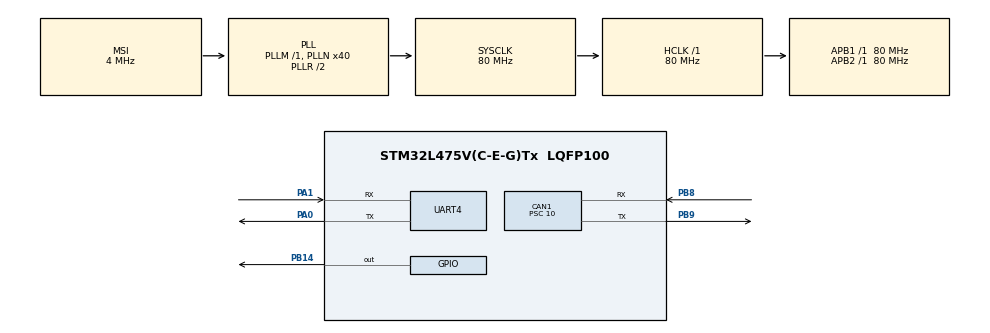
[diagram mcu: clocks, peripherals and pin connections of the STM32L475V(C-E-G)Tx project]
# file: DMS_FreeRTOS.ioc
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CAN1.BS1=CAN_BS1_13TQ
CAN1.BS2=CAN_BS2_2TQ
CAN1.CalculateBaudRate=500000
CAN1.CalculateTimeBit=2000
CAN1.CalculateTimeQuantum=125.0
CAN1.Prescaler=10
FREERTOS.Queues01=q_dms_state,8,uint16_t,0,Dynamic,NULL,NULL
FREERTOS.Tasks01=Task_Watchdog,48,256,StartTaskWatchdog,Default,NULL,Dynamic,NULL,NULL;Task_CAN_Tx,40,256,StartTaskCanTx,Default,NULL,Dynamic,NULL,NULL;Task_UART_Rx,24,256,StartTaskUartRx,Default,NULL,Dynamic,NULL,NULL;Task_Alert,24,128,StartTaskAlert,Default,NULL,Dynamic,NULL,NULL
FREERTOS.configTOTAL_HEAP_SIZE=8192
Mcu.Family=STM32L4
Mcu.Name=STM32L475V(C-E-G)Tx
Mcu.Package=LQFP100
NVIC.CAN1_RX0_IRQn=true\:5\:0\:false\:false\:true\:true\:true\:true\:true
NVIC.PriorityGroup=NVIC_PRIORITYGROUP_4
NVIC.TIM2_IRQn=true\:5\:0\:false\:false\:true\:true\:true\:true\:true
NVIC.TIM6_DAC_IRQn=true\:15\:0\:false\:false\:true\:false\:false\:true\:true
NVIC.TimeBase=TIM6_DAC_IRQn
NVIC.TimeBaseIP=TIM6
NVIC.UART4_IRQn=true\:5\:0\:false\:false\:true\:true\:true\:true\:true
PA0.Mode=Asynchronous
PA0.Signal=UART4_TX
PA1.Mode=Asynchronous
PA1.Signal=UART4_RX
PB14.Signal=GPIO_Output
PB8.Mode=CAN_Activate
PB8.Signal=CAN1_RX
PB9.Mode=CAN_Activate
PB9.Signal=CAN1_TX
ProjectManager.HeapSize=0x200
ProjectManager.StackSize=0x400
ProjectManager.TargetToolchain=STM32CubeIDE
RCC.ADCFreq_Value=48000000
RCC.AHBFreq_Value=80000000
RCC.APB1Freq_Value=80000000
RCC.APB1TimFreq_Value=80000000
RCC.APB2Freq_Value=80000000
RCC.APB2TimFreq_Value=80000000
RCC.CortexFreq_Value=80000000
RCC.HCLKFreq_Value=80000000
RCC.HSE_VALUE=8000000
RCC.HSI_VALUE=16000000
RCC.LSE_VALUE=32768
RCC.MSI_VALUE=4000000
RCC.PLLN=40
RCC.PLLSAI1N=24
RCC.SYSCLKFreq_VALUE=80000000
RCC.SYSCLKSource=RCC_SYSCLKSOURCE_PLLCLK
RCC.USBFreq_Value=48000000
RCC.VCOOutputFreq_Value=160000000
TIM2.Period=4999
TIM2.Prescaler=7999
VP_FREERTOS_VS_CMSIS_V2.Mode=CMSIS_V2
VP_SYS_VS_tim6.Mode=TIM6
VP_TIM2_VS_ClockSourceINT.Mode=Internal
board=B-L475E-IOT01A2

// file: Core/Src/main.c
/* USER CODE BEGIN Header */
/**
  ******************************************************************************
  * @file           : main.c
  * @brief          : Main program body
  ******************************************************************************
  * @attention
  *
  * Copyright (c) 2026 STMicroelectronics.
  * All rights reserved.
  *
  * This software is licensed under terms that can be found in the LICENSE file
  * in the root directory of this software component.
  * If no LICENSE file comes with this software, it is provided AS-IS.
  *
  ******************************************************************************
  */
/* USER CODE END Header */
#include "main.h"
#include "cmsis_os.h"
#include "can.h"
#include "tim.h"
#include "usart.h"
#include "gpio.h"

/* USER CODE BEGIN PV */
extern uint8_t rx_byte;
/* USER CODE END PV */

void SystemClock_Config(void);
void MX_FREERTOS_Init(void);

int main(void)
{

  /* MCU Configuration--------------------------------------------------------*/

  /* Reset of all peripherals, Initializes the Flash interface and the Systick. */
  HAL_Init();

  /* Configure the system clock */
  SystemClock_Config();

  /* Initialize all configured peripherals */
  MX_GPIO_Init();
  MX_CAN1_Init();
  MX_TIM2_Init();
  MX_UART4_Init();
  /* USER CODE BEGIN 2 */
  // UART 인터럽트 수신 시작(베이메탈과 동일)
  HAL_UART_Receive_IT(&huart4, &rx_byte, 1);

  // CAN 필터 설정 (전체 수신, 베어메탈과 동일)
  CAN_FilterTypeDef FilterConfig;
  FilterConfig.FilterBank = 0;
  FilterConfig.FilterMode = CAN_FILTERMODE_IDMASK;
  FilterConfig.FilterScale = CAN_FILTERSCALE_32BIT;
  FilterConfig.FilterIdHigh = 0x0000;
  FilterConfig.FilterIdLow = 0x0000;
  FilterConfig.FilterMaskIdHigh = 0x0000;
  FilterConfig.FilterMaskIdLow = 0x0000;
  FilterConfig.FilterFIFOAssignment = CAN_RX_FIFO0;
  FilterConfig.FilterActivation = ENABLE;
  HAL_CAN_ConfigFilter(&hcan1, &FilterConfig);

  HAL_CAN_Start(&hcan1);
  HAL_CAN_ActivateNotification(&hcan1, CAN_IT_RX_FIFO0_MSG_PENDING);
  /* USER CODE END 2 */

  /* Init scheduler */
  osKernelInitialize();  /* Call init function for freertos objects (in cmsis_os2.c) */
  MX_FREERTOS_Init();

  /* Start scheduler */
  osKernelStart();

  /* We should never get here as control is now taken by the scheduler */

  /* Infinite loop */
  while (1)
  {

  }
}

void SystemClock_Config(void)
{
  RCC_OscInitTypeDef RCC_OscInitStruct = {0};
  RCC_ClkInitTypeDef RCC_ClkInitStruct = {0};

  /** Configure the main internal regulator output voltage
  */
  if (HAL_PWREx_ControlVoltageScaling(PWR_REGULATOR_VOLTAGE_SCALE1) != HAL_OK)
  {
    Error_Handler();
  }

  /** Initializes the RCC Oscillators according to the specified parameters
  * in the RCC_OscInitTypeDef structure.
  */
  RCC_OscInitStruct.OscillatorType = RCC_OSCILLATORTYPE_MSI;
  RCC_OscInitStruct.MSIState = RCC_MSI_ON;
  RCC_OscInitStruct.MSICalibrationValue = 0;
  RCC_OscInitStruct.MSIClockRange = RCC_MSIRANGE_6;
  RCC_OscInitStruct.PLL.PLLState = RCC_PLL_ON;
  RCC_OscInitStruct.PLL.PLLSource = RCC_PLLSOURCE_MSI;
  RCC_OscInitStruct.PLL.PLLM = 1;
  RCC_OscInitStruct.PLL.PLLN = 40;
  RCC_OscInitStruct.PLL.PLLP = RCC_PLLP_DIV7;
  RCC_OscInitStruct.PLL.PLLQ = RCC_PLLQ_DIV2;
  RCC_OscInitStruct.PLL.PLLR = RCC_PLLR_DIV2;
  if (HAL_RCC_OscConfig(&RCC_OscInitStruct) != HAL_OK)
  {
    Error_Handler();
  }

  /** Initializes the CPU, AHB and APB buses clocks
  */
  RCC_ClkInitStruct.ClockType = RCC_CLOCKTYPE_HCLK|RCC_CLOCKTYPE_SYSCLK
                              |RCC_CLOCKTYPE_PCLK1|RCC_CLOCKTYPE_PCLK2;
  RCC_ClkInitStruct.SYSCLKSource = RCC_SYSCLKSOURCE_PLLCLK;
  RCC_ClkInitStruct.AHBCLKDivider = RCC_SYSCLK_DIV1;
  RCC_ClkInitStruct.APB1CLKDivider = RCC_HCLK_DIV1;
  RCC_ClkInitStruct.APB2CLKDivider = RCC_HCLK_DIV1;

  if (HAL_RCC_ClockConfig(&RCC_ClkInitStruct, FLASH_LATENCY_4) != HAL_OK)
  {
    Error_Handler();
  }
}

void HAL_TIM_PeriodElapsedCallback(TIM_HandleTypeDef *htim)
{
  if (htim->Instance == TIM6)
  {
    HAL_IncTick();
  }
}

void Error_Handler(void)
{
  __disable_irq();
  while (1)
  {
  }
}

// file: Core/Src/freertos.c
/* USER CODE BEGIN Header */
/**
  ******************************************************************************
  * File Name          : freertos.c
  * Description        : Code for freertos applications
  ******************************************************************************
  * @attention
  *
  * Copyright (c) 2026 STMicroelectronics.
  * All rights reserved.
  *
  * This software is licensed under terms that can be found in the LICENSE file
  * in the root directory of this software component.
  * If no LICENSE file comes with this software, it is provided AS-IS.
  *
  ******************************************************************************
  */
/* USER CODE END Header */

#include "FreeRTOS.h"
#include "task.h"
#include "main.h"
#include "cmsis_os.h"

/* USER CODE BEGIN Includes */
#include "can.h"
#include "usart.h"
#include "gpio.h"
/* USER CODE END Includes */

/* USER CODE BEGIN Variables */
// 콜백으로 UART 수신
uint8_t rx_byte = 0;
uint8_t rx_buf[4];
uint8_t rx_idx = 0;
uint8_t rx_state = 0;

// 공유 상태에서 driver_state / ear : UART 콜백이 쓰고, CAN_Tx가 읽음.
volatile uint8_t driver_state = 0;
volatile uint8_t curr_ear = 0;
volatile uint8_t curr_seq = 0;
volatile uint8_t rpi_alive = 1;

// Watchdog 내부
static uint8_t last_seq = 0;
static uint8_t hb_fail_count = 0;
static uint8_t dtc_sent = 0;
/* USER CODE END Variables */
/* Definitions for Task_Watchdog */
osThreadId_t Task_WatchdogHandle;
const osThreadAttr_t Task_Watchdog_attributes = {
  .name = "Task_Watchdog",
  .stack_size = 256 * 4,
  .priority = (osPriority_t) osPriorityRealtime,
};
/* Definitions for Task_CAN_Tx */
osThreadId_t Task_CAN_TxHandle;
const osThreadAttr_t Task_CAN_Tx_attributes = {
  .name = "Task_CAN_Tx",
  .stack_size = 256 * 4,
  .priority = (osPriority_t) osPriorityHigh,
};
/* Definitions for Task_UART_Rx */
osThreadId_t Task_UART_RxHandle;
const osThreadAttr_t Task_UART_Rx_attributes = {
  .name = "Task_UART_Rx",
  .stack_size = 256 * 4,
  .priority = (osPriority_t) osPriorityNormal,
};
/* Definitions for Task_Alert */
osThreadId_t Task_AlertHandle;
const osThreadAttr_t Task_Alert_attributes = {
  .name = "Task_Alert",
  .stack_size = 128 * 4,
  .priority = (osPriority_t) osPriorityNormal,
};
/* Definitions for q_dms_state */
osMessageQueueId_t q_dms_stateHandle;
const osMessageQueueAttr_t q_dms_state_attributes = {
  .name = "q_dms_state"
};

void StartTaskWatchdog(void *argument);
void StartTaskCanTx(void *argument);
void StartTaskUartRx(void *argument);
void StartTaskAlert(void *argument);

void MX_FREERTOS_Init(void); /* (MISRA C 2004 rule 8.1) */

void MX_FREERTOS_Init(void) {

  /* Create the queue(s) */
  /* creation of q_dms_state */
  q_dms_stateHandle = osMessageQueueNew (8, sizeof(uint16_t), &q_dms_state_attributes);

  /* Create the thread(s) */
  /* creation of Task_Watchdog */
  Task_WatchdogHandle = osThreadNew(StartTaskWatchdog, NULL, &Task_Watchdog_attributes);

  /* creation of Task_CAN_Tx */
  Task_CAN_TxHandle = osThreadNew(StartTaskCanTx, NULL, &Task_CAN_Tx_attributes);

  /* creation of Task_UART_Rx */
  Task_UART_RxHandle = osThreadNew(StartTaskUartRx, NULL, &Task_UART_Rx_attributes);

  /* creation of Task_Alert */
  Task_AlertHandle = osThreadNew(StartTaskAlert, NULL, &Task_Alert_attributes);

}

void StartTaskWatchdog(void *argument)
{
  /* USER CODE BEGIN StartTaskWatchdog */
  /* Infinite loop */
	for(;;)
	{
		if(curr_seq == last_seq)
		{
			hb_fail_count++;
		}
		else
		{
			hb_fail_count = 0;
			rpi_alive = 1;
			last_seq = curr_seq;
		}

		if(hb_fail_count >= 5)
		{
			rpi_alive = 0;
		}

		// DTC 송출 (베어메탈 while루프 부분, 로직 동일)
		if(rpi_alive == 0 && dtc_sent == 0)
		{
			CAN_TxHeaderTypeDef DtcHeader;
			uint8_t DtcData[8] = {0xFF, 0x01, 0x02, 0x01, 0, 0, 0, 0};
			uint32_t DtcMailbox;

			DtcHeader.StdId = 0x7DF;
			DtcHeader.IDE = CAN_ID_STD;
			DtcHeader.RTR = CAN_RTR_DATA;
			DtcHeader.DLC = 8;
			DtcHeader.TransmitGlobalTime = DISABLE;

			HAL_CAN_AddTxMessage(&hcan1, &DtcHeader, DtcData, &DtcMailbox);
			dtc_sent = 1;
		}
		else if (rpi_alive == 1)
		{
			dtc_sent = 0;
		}

		osDelay(100);
	}
  /* USER CODE END StartTaskWatchdog */
}

void StartTaskCanTx(void *argument)
{
  /* USER CODE BEGIN StartTaskCanTx */
	CAN_TxHeaderTypeDef TxHeader;
	uint8_t TxData[3];
	uint32_t TxMailbox;
	uint8_t hb_tx_counter = 0;
	uint8_t stm32_hb_count = 0;

	TxHeader.IDE = CAN_ID_STD;
	TxHeader.RTR = CAN_RTR_DATA;
	TxHeader.TransmitGlobalTime = DISABLE;
  /* Infinite loop */
	for(;;)
  	{
	  // 0x100: 졸음 상태
	  TxHeader.StdId = 0x100;
	  TxHeader.DLC = 3;
	  TxData[0] = driver_state;
	  TxData[1] = rpi_alive;
	  TxData[2] = curr_ear; // 예비 바이트 -> ear 정보로 활용
	  HAL_CAN_AddTxMessage(&hcan1, &TxHeader, TxData, &TxMailbox);

	  // 0x200 : ECU Heartbeat (5회마다 500ms)
	  hb_tx_counter++;
	  if(hb_tx_counter >=5)
	  {
		  hb_tx_counter = 0;
		  stm32_hb_count++;
		  TxHeader.StdId = 0x200;
		  TxHeader.DLC = 1;
		  uint8_t HbData[1] = {stm32_hb_count};
		  HAL_CAN_AddTxMessage(&hcan1, &TxHeader, HbData, &TxMailbox);
	  }

	  osDelay(100);
  	}
  /* USER CODE END StartTaskCanTx */
}

void StartTaskUartRx(void *argument)
{
  for(;;)
  {
    osDelay(1);
  }
}

void StartTaskAlert(void *argument)
{
  /* USER CODE BEGIN StartTaskAlert */
	uint16_t msg;
	uint8_t state = 0;
	/* Infinite loop */
	for(;;)
	{
		// 큐에서 새 상태 대기, 최대 100ms 새 메세지 오면 바로 깨어남
		if(osMessageQueueGet(q_dms_stateHandle, &msg, NULL, 100) == osOK)
		{
			state = (uint8_t)(msg >> 8);
		}

		// LED 표시
		if(rpi_alive == 0)
		{
			HAL_GPIO_TogglePin(GPIOB, GPIO_PIN_14);
			osDelay(400);
		}
		else
		{
			switch(state)
			{
				case 0:
				{
					HAL_GPIO_WritePin(GPIOB, GPIO_PIN_14, GPIO_PIN_RESET);
					break;
				}

				case 1:
				{
					HAL_GPIO_TogglePin(GPIOB, GPIO_PIN_14);
					osDelay(400);
					break;
				}

				case 2:
				{
					HAL_GPIO_WritePin(GPIOB, GPIO_PIN_14, GPIO_PIN_SET);
					break;
				}
			}
		}
	}
  /* USER CODE END StartTaskAlert */
}

/* USER CODE BEGIN Application */
void HAL_UART_RxCpltCallback(UART_HandleTypeDef *huart)
{
	if(huart->Instance == UART4)
	{
		if(rx_state == 0)
		{
			if(rx_byte == 0xAA) { rx_state = 1; rx_idx = 0; }
		}
		else if(rx_state == 1)
		{
			rx_buf[rx_idx++] = rx_byte;
			if(rx_idx == 4)
			{
				uint8_t calc = (0xAA + rx_buf[0] + rx_buf[1] + rx_buf[2]) & 0xFF;
				if(calc == rx_buf[3])
				{
					driver_state = rx_buf[0];
					curr_ear = rx_buf[1];
					curr_seq = rx_buf[2];

					// RTOS 추가 상태를 큐로 Alert 태스크에 전달
					// 상위 바이트 = driver_state, 하위 바이트 = ear
					uint16_t msg = ((uint16_t)driver_state << 8) | curr_ear;
					osMessageQueuePut(q_dms_stateHandle, &msg, 0, 0);
					// 마지막 인자 timeout = 0 : ISR에서 블로킹 금지(필수!)
				}
				rx_state = 0;
			}
		}
		HAL_UART_Receive_IT(huart, &rx_byte, 1);
	}
}

void HAL_CAN_RxFifo0MsgPendingCallback(CAN_HandleTypeDef *hcan)
{
	CAN_RxHeaderTypeDef RxHeader;
	uint8_t RxData[8];

	if(HAL_CAN_GetRxMessage(hcan, CAN_RX_FIFO0, &RxHeader, RxData) == HAL_OK)
	{
		switch(RxHeader.StdId)
		{
		case 0x101: break;
		case 0x102: break; // TODO : 운전자 확인 후 알림 리셋하는 코드
		default: break;
		}
	}
}
/* USER CODE END Application */
